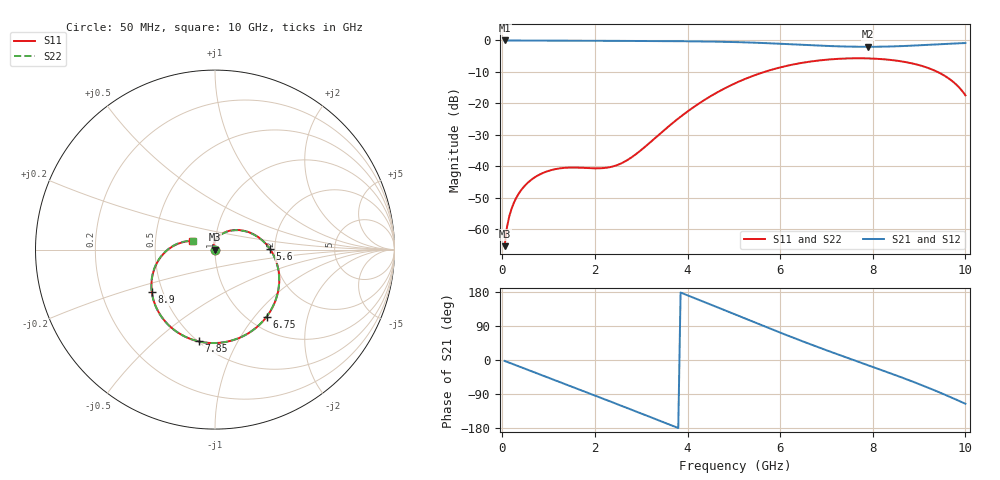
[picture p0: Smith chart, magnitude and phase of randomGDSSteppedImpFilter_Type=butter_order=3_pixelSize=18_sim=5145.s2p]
! freq	dB(S11)	phase(S11)	dB(S12)	phase(S12)
!  dB(S21)	phase(S21)	dB(S22)	phase(S22)
!S-par simulation data
#  GHz  S  DB  R 50
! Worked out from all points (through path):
!   200 points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, 50 MHz to 10 GHz, reference 50 ohm
!   highest |S21| = 0.00 dB at 50 MHz (marker M1); lowest = -2.0 dB at 7.9 GHz (marker M2)
!   group delay of S21, straight-line fit = 132 ps
!   lowest |S11| = -65.4 dB at 50 MHz (marker M3), VSWR 1.00, Z = 50 - j0.0537 ohm
!   |S11| at or under -10 dB: start of sweep to 5.66 GHz; 9.399 GHz to end of sweep
!   |S22| runs from -65.4 to -5.7 dB; largest |S21 - S12| = 0
!   S11 on the Smith chart (normalised r, x): 50 MHz: 1.00, -0.00; 5.6 GHz: 1.88, +0.02; 6.75 GHz: 1.20, -1.16; 7.85 GHz: 0.50, -0.70; 8.9 GHz: 0.44, -0.25; 10 GHz: 0.77, +0.07
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0.05  -65.37 -85.0  -0.00 -2.4  -0.00 -2.4  -65.38 -85.0
0.1  -59.42 -91.3  -0.01 -4.8  -0.01 -4.8  -59.43 -91.3
0.2  -53.48 -98.2  -0.02 -9.5  -0.02 -9.5  -53.48 -98.3
0.5  -45.94 -114.5  -0.04 -23.5  -0.04 -23.5  -45.95 -114.7
1  -41.44 -140.9  -0.06 -46.9  -0.06 -46.9  -41.44 -141.5
1.75  -40.49 176.3  -0.09 -82.0  -0.09 -82.0  -40.45 174.7
2.55  -39.19 132.2  -0.14 -119.8  -0.14 -119.8  -39.07 129.6
3.4  -29.72 101.1  -0.20 -160.3  -0.20 -160.3  -29.70 99.6
3.8  -24.81 84.6  -0.24 -179.6  -0.24 -179.6  -24.80 83.6
4.2  -20.50 66.9  -0.30 160.9  -0.30 160.9  -20.50 66.2
5.05  -13.46 27.1  -0.53 119.0  -0.53 119.0  -13.46 26.7
5.6  -10.29 0.8  -0.80 91.8  -0.80 91.8  -10.29 0.5
6.1  -8.22 -22.8  -1.12 67.5  -1.12 67.5  -8.22 -23.1
6.7  -6.61 -50.3  -1.55 39.4  -1.55 39.4  -6.61 -50.5
6.75  -6.52 -52.5  -1.58 37.1  -1.58 37.1  -6.52 -52.8
7.3  -5.81 -76.7  -1.89 12.4  -1.89 12.4  -5.81 -76.9
7.85  -5.69 -100.2  -2.02 -11.7  -2.02 -11.7  -5.69 -100.4
7.9  -5.71 -102.3  -2.02 -13.8  -2.02 -13.8  -5.71 -102.5
8.35  -6.14 -121.7  -1.93 -33.6  -1.93 -33.6  -6.14 -121.9
8.9  -7.47 -146.2  -1.62 -58.8  -1.62 -58.8  -7.47 -146.5
9.55  -11.21 -177.6  -1.10 -91.1  -1.10 -91.1  -11.21 -178.0
10  -17.42 159.3  -0.83 -115.5  -0.83 -115.5  -17.43 158.6
